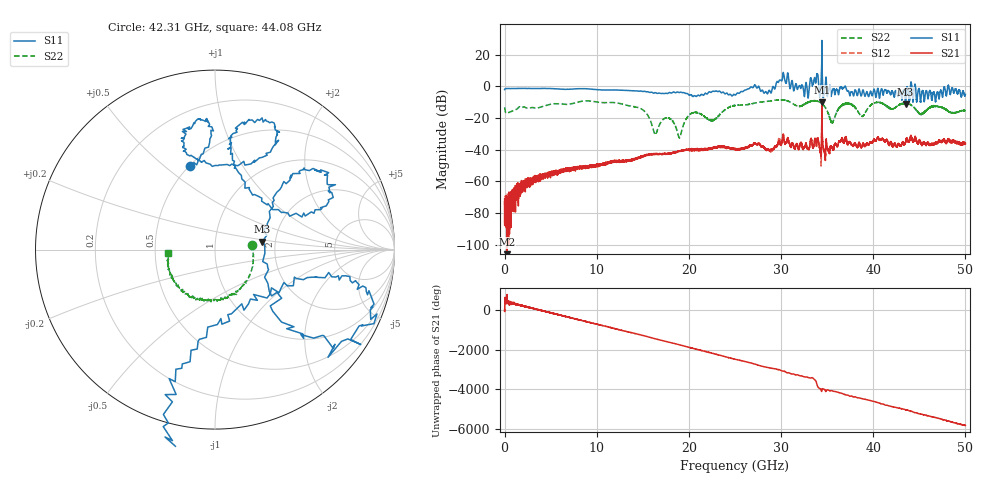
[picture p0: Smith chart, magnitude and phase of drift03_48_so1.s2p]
!Created with skrf (http://scikit-rf.org).
# Hz S RI R 50.0
!freq ReS11 ImS11 ReS21 ImS21 ReS12 ImS12 ReS22 ImS22
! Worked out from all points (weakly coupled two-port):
!   10000 points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, 5.3 MHz to 50 GHz, reference 50 ohm
!   highest |S21| = -10.15 dB at 34.43 GHz (marker M1); lowest = -123.4 dB at 245.3 MHz (marker M2)
!   lowest |S11| = -11.5 dB at 43.51 GHz (marker M3), VSWR 1.73, Z = 85.3 + j8.2 ohm
!   |S11| at or under -10 dB: 43.48976 GHz to 43.54364 GHz (53.88 MHz wide, 0.124 % of centre); 43.54991 GHz to 43.55005 GHz (142.7 kHz wide, 0.000328 % of centre); 44.31467 GHz to 44.31532 GHz (649 kHz wide, 0.00146 % of centre) (the widest 3 of 5)
!   |S22| runs from -32.6 to -8.4 dB; largest |S21 - S12| = 0.089
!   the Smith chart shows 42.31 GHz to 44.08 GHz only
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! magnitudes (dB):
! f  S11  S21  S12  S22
! 5.3 MHz  -2.1  -74.8  -70.6  -13.3
! 245.3 MHz  -1.4  -123.4  -75.1  -17.0
! 3.215 GHz  -1.4  -60.1  -56.6  -13.6
! 8.34 GHz  -1.5  -51.7  -50.9  -9.5
! 14.57 GHz  -3.1  -45.2  -45.3  -13.6
! 16.67 GHz  -4.4  -42.6  -42.7  -26.2
! 17.8 GHz  -4.2  -42.3  -42.3  -20.1
! 18.99 GHz  -3.9  -40.9  -41.2  -32.6
! 20.3 GHz  -5.6  -40.2  -39.6  -17.1
! 22.58 GHz  -3.1  -39.0  -39.0  -21.7
! 25.01 GHz  -5.5  -39.6  -39.4  -12.2
! 28.72 GHz  -2.5  -40.7  -40.4  -9.4
! 30.14 GHz  4.4  -33.8  -34.0  -8.5
! 32.74 GHz  2.0  -37.1  -36.7  -10.7
! 33.34 GHz  2.6  -35.5  -35.2  -9.4
! 34.43 GHz  29.0  -10.1  -12.0  -10.8
! 35.54 GHz  -3.1  -39.0  -39.1  -23.0
! 36.97 GHz  0.1  -32.5  -32.9  -11.1
! 38.78 GHz  -4.9  -37.8  -38.0  -19.0
! 41.67 GHz  -3.0  -36.7  -36.9  -13.5
! 43.51 GHz  -11.5  -35.2  -35.2  -10.6
! 50 GHz  -5.1  -36.4  -36.4  -15.5
